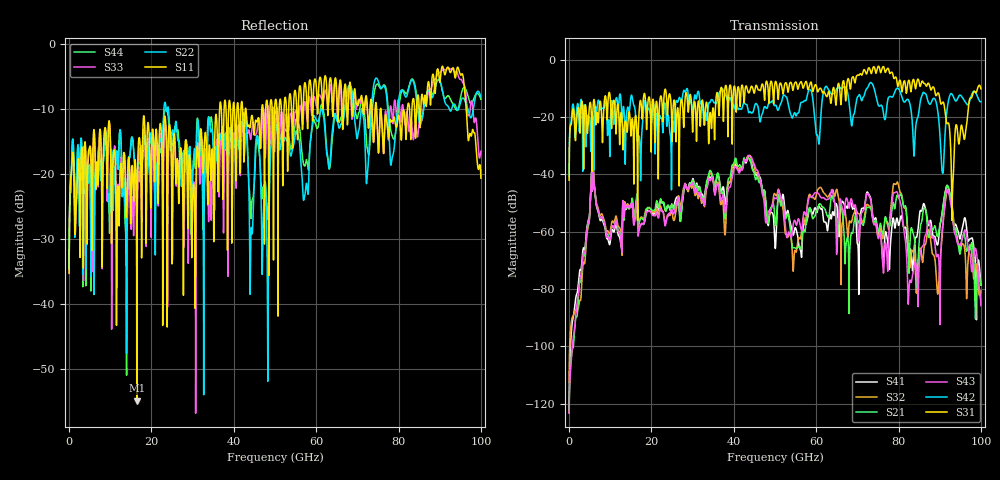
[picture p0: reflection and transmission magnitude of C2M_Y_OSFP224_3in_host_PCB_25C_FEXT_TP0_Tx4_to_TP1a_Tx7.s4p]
# GHz S RI R 45
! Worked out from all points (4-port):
!   4000 points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, 25 MHz to 100 GHz, reference 45 ohm
!   strongest paths, dB at 25 MHz, 25.02 GHz, 50.02 GHz, 75.03 GHz, 100 GHz:
!     S31: -42.0, -27.8, -8.0, -2.4, -10.1
!     S42: -40.4, -26.7, -15.9, -15.6, -14.6
!     S43: -123.3, -52.4, -48.2, -62.1, -85.8
!     S21: -122.8, -50.4, -56.3, -59.8, -78.6
!     S32: -112.6, -53.2, -46.9, -61.6, -80.6
!     S41: -122.9, -50.4, -65.1, -60.3, -78.4
!   lowest |S11| = -55.0 dB at 16.45 GHz (marker M1), VSWR 1.00, Z = 45.2 - j0.0124 ohm
!   |S11| at or under -10 dB: start of sweep to 36.56 GHz; 42.95 GHz to 46.79 GHz (3.841 GHz wide, 8.56 % of centre); 75.73 GHz to 82.15 GHz (6.422 GHz wide, 8.14 % of centre) (the widest 3 of 35)
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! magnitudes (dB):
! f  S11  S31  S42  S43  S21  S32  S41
! 25 MHz  -35.3  -42.0  -40.4  -123.3  -122.8  -112.6  -122.9
! 5.75 GHz  -17.6  -19.4  -19.8  -40.2  -40.5  -40.5  -40.3
! 16.45 GHz  -55.0  -24.1  -26.1  -49.5  -47.0  -49.1  -47.2
! 43.83 GHz  -12.8  -11.2  -18.3  -33.6  -34.4  -33.3  -34.8
! 82.7 GHz  -10.1  -7.9  -15.0  -77.3  -67.0  -72.2  -67.4
! 91.92 GHz  -3.5  -22.2  -15.9  -45.3  -43.9  -45.9  -44.0
! 100 GHz  -20.6  -10.1  -14.6  -85.8  -78.6  -80.6  -78.4
